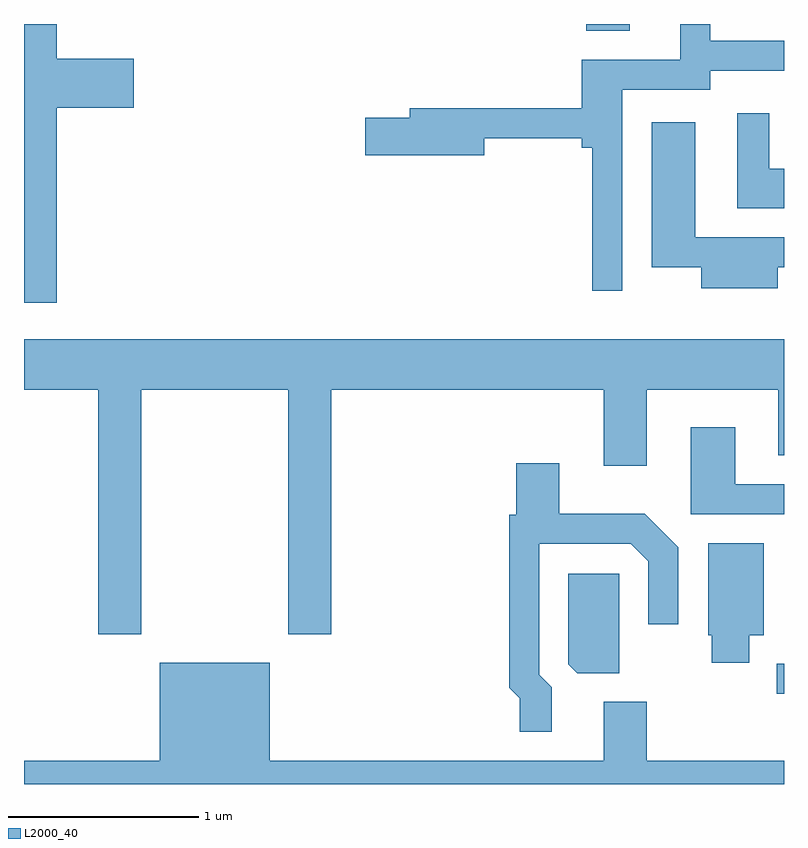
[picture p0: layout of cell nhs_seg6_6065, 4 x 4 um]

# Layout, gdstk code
import gdstk
lib = gdstk.Library(unit=1e-6, precision=1e-09)
def R(c, l, rs):  # rectangles x0, y0, x1, y1
    for r in rs: c.add(gdstk.rectangle(r[:2], r[2:], *l))
def P(c, l, *ps):  # polygons
    for p in ps: c.add(gdstk.Polygon(p, *l))
L2000_40 = (2000, 40)

nhs_seg6_6065 = lib.new_cell('nhs_seg6_6065')
R(nhs_seg6_6065, L2000_40, [(373.573,1570.636,373.611,1570.794), (372.571,1574.126,372.799,1574.162)])
P(nhs_seg6_6065, L2000_40, [(369.784,1573.721),(370.189,1573.721),(370.189,1573.979),(369.784,1573.979),(369.784,1574.162),(369.611,1574.162),(369.611,1572.696),(369.784,1572.696)],
  [(372.759,1573.816),(373.224,1573.816),(373.224,1573.916),(373.611,1573.916),(373.611,1574.074),(373.224,1574.074),(373.224,1574.162),(373.066,1574.162),(373.066,1573.974),(372.546,1573.974),(372.546,1573.719),(371.641,1573.719),(371.641,1573.669),(371.406,1573.669),(371.406,1573.471),(372.034,1573.471),(372.034,1573.561),(372.546,1573.561),(372.546,1573.511),(372.601,1573.511),(372.601,1572.758),(372.759,1572.758)],
  [(373.611,1573.399),(373.534,1573.399),(373.534,1573.693),(373.366,1573.693),(373.366,1573.191),(373.611,1573.191)],
  [(373.579,1572.881),(373.611,1572.881),(373.611,1573.039),(373.144,1573.039),(373.144,1573.644),(372.916,1573.644),(372.916,1572.881),(373.176,1572.881),(373.176,1572.771),(373.579,1572.771)],
  [(370.229,1572.236),(371.001,1572.236),(371.001,1570.951),(371.229,1570.951),(371.229,1572.236),(372.661,1572.236),(372.661,1571.836),(372.889,1571.836),(372.889,1572.236),(373.581,1572.236),(373.581,1571.891),(373.611,1571.891),(373.611,1572.504),(369.611,1572.504),(369.611,1572.236),(370.001,1572.236),(370.001,1570.951),(370.229,1570.951)],
  [(373.611,1571.739),(373.354,1571.739),(373.354,1572.039),(373.121,1572.039),(373.121,1571.581),(373.611,1571.581)],
  [(372.389,1570.672),(372.324,1570.737),(372.324,1571.426),(372.804,1571.426),(372.896,1571.334),(372.896,1571.003),(373.054,1571.003),(373.054,1571.407),(372.877,1571.584),(372.429,1571.584),(372.429,1571.849),(372.201,1571.849),(372.201,1571.579),(372.166,1571.579),(372.166,1570.669),(372.221,1570.614),(372.221,1570.438),(372.389,1570.438)],
  [(373.429,1570.946),(373.504,1570.946),(373.504,1571.429),(373.211,1571.429),(373.211,1570.946),(373.231,1570.946),(373.231,1570.801),(373.429,1570.801)],
  [(372.744,1571.269),(372.476,1571.269),(372.476,1570.792),(372.522,1570.746),(372.744,1570.746)],
  [(373.611,1570.284),(372.889,1570.284),(372.889,1570.594),(372.661,1570.594),(372.661,1570.284),(370.904,1570.284),(370.904,1570.799),(370.326,1570.799),(370.326,1570.284),(369.611,1570.284),(369.611,1570.162),(373.611,1570.162)])

lib.write_gds('nhs_seg6_6065.gds')
